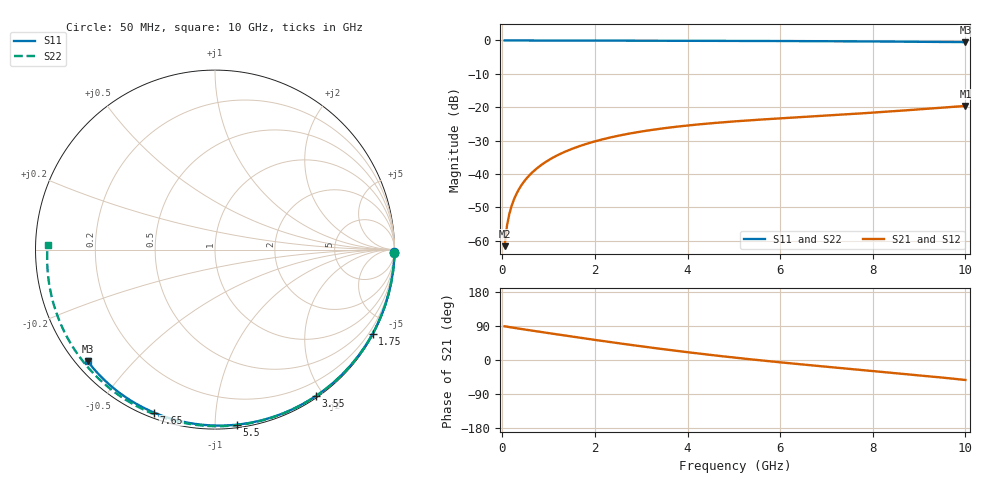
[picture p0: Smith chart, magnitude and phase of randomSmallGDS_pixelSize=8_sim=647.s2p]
! freq	dB(S11)	phase(S11)	dB(S12)	phase(S12)
!  dB(S21)	phase(S21)	dB(S22)	phase(S22)
!S-par simulation data
#  GHz  S  DB  R 50
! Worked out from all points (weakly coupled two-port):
!   200 points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, 50 MHz to 10 GHz, reference 50 ohm
!   highest |S21| = -19.60 dB at 10 GHz (marker M1); lowest = -61.6 dB at 50 MHz (marker M2)
!   lowest |S11| = -0.5 dB at 10 GHz (marker M3), VSWR 34.36, Z = 1.66 - j18.8 ohm
!   |S11| at or under -10 dB: nowhere
!   |S22| runs from -0.6 to 0.0 dB; largest |S21 - S12| = 0
!   S11 on the Smith chart (normalised r, x): 50 MHz: open; 1.75 GHz: 0.04, -4.00; 3.55 GHz: 0.02, -1.90; 5.5 GHz: 0.02, -1.13; 7.65 GHz: 0.02, -0.69; 10 GHz: 0.03, -0.38
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0.05  -0.00 -0.8  -61.60 88.9  -61.60 88.9  -0.00 -1.1
0.1  -0.00 -1.6  -55.58 87.9  -55.58 87.9  -0.00 -2.2
0.15  -0.00 -2.5  -52.07 86.9  -52.07 86.9  -0.00 -3.2
0.2  -0.00 -3.3  -49.59 85.9  -49.59 85.9  -0.00 -4.3
0.25  -0.00 -4.1  -47.66 84.9  -47.66 84.9  -0.00 -5.4
0.35  -0.00 -5.7  -44.77 83.0  -44.77 83.0  -0.01 -7.5
0.5  -0.01 -8.1  -41.72 80.1  -41.72 80.1  -0.01 -10.8
0.7  -0.01 -11.4  -38.85 76.5  -38.85 76.5  -0.02 -15.0
1  -0.02 -16.2  -35.84 71.0  -35.84 71.0  -0.03 -21.4
1.35  -0.03 -21.8  -33.35 64.6  -33.35 64.6  -0.04 -28.7
1.75  -0.04 -28.1  -31.26 57.5  -31.26 57.5  -0.05 -37.0
2.6  -0.06 -41.3  -28.27 42.7  -28.27 42.7  -0.07 -54.1
3.4  -0.08 -53.3  -26.46 29.7  -26.46 29.7  -0.10 -69.6
3.55  -0.08 -55.5  -26.19 27.4  -26.19 27.4  -0.10 -72.4
4.3  -0.11 -66.4  -25.06 16.2  -25.06 16.2  -0.13 -86.2
5.05  -0.13 -76.8  -24.20 5.9  -24.20 5.9  -0.16 -99.4
5.5  -0.15 -82.9  -23.77 0.0  -23.77 0.0  -0.19 -107.1
6.7  -0.21 -98.6  -22.74 -14.3  -22.74 -14.3  -0.26 -127.0
7.65  -0.27 -110.5  -21.93 -25.0  -21.93 -25.0  -0.34 -142.5
8.35  -0.33 -119.1  -21.28 -32.8  -21.28 -32.8  -0.40 -153.8
9.2  -0.41 -129.2  -20.44 -42.7  -20.44 -42.7  -0.50 -167.9
10  -0.51 -138.7  -19.60 -52.7  -19.60 -52.7  -0.61 178.3
